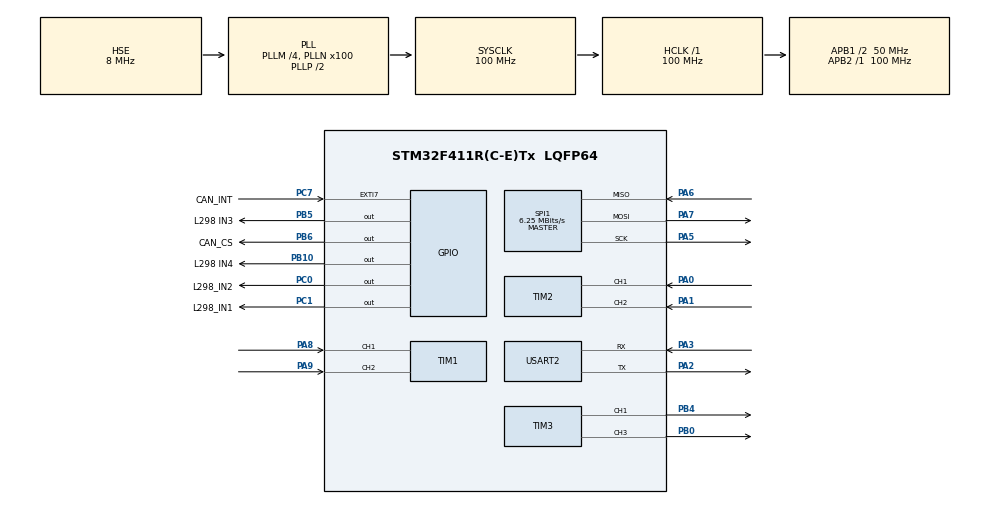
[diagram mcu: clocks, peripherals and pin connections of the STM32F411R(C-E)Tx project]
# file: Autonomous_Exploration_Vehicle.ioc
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FREERTOS.Tasks01=defaultTask,0,128,StartDefaultTask,Default,NULL,Dynamic,NULL,NULL
Mcu.Family=STM32F4
Mcu.Name=STM32F411R(C-E)Tx
Mcu.Package=LQFP64
NVIC.EXTI9_5_IRQn=true\:5\:0\:false\:false\:true\:true\:true\:true\:true
NVIC.PriorityGroup=NVIC_PRIORITYGROUP_4
NVIC.TIM1_TRG_COM_TIM11_IRQn=true\:5\:0\:false\:false\:true\:false\:false\:true\:true
NVIC.TimeBase=TIM1_TRG_COM_TIM11_IRQn
NVIC.TimeBaseIP=TIM11
PA0-WKUP.Signal=S_TIM2_CH1_ETR
PA1.Signal=S_TIM2_CH2
PA13.Mode=Serial_Wire
PA13.Signal=SYS_JTMS-SWDIO
PA14.Mode=Serial_Wire
PA14.Signal=SYS_JTCK-SWCLK
PA2.Mode=Asynchronous
PA2.Signal=USART2_TX
PA3.Mode=Asynchronous
PA3.Signal=USART2_RX
PA5.Mode=Full_Duplex_Master
PA5.Signal=SPI1_SCK
PA6.Mode=Full_Duplex_Master
PA6.Signal=SPI1_MISO
PA7.Mode=Full_Duplex_Master
PA7.Signal=SPI1_MOSI
PA8.Signal=S_TIM1_CH1
PA9.Signal=S_TIM1_CH2
PB0.Signal=S_TIM3_CH3
PB10.GPIO_Label=L298 IN4
PB10.Signal=GPIO_Output
PB4.Signal=S_TIM3_CH1
PB5.GPIO_Label=L298 IN3
PB5.Signal=GPIO_Output
PB6.GPIO_Label=CAN_CS
PB6.PinState=GPIO_PIN_SET
PB6.Signal=GPIO_Output
PC0.GPIO_Label=L298_IN2
PC0.Signal=GPIO_Output
PC1.GPIO_Label=L298_IN1
PC1.Signal=GPIO_Output
PC7.GPIO_Label=CAN_INT
PC7.GPIO_ModeDefaultEXTI=GPIO_MODE_IT_FALLING
PC7.GPIO_PuPd=GPIO_PULLUP
PC7.Signal=GPXTI7
PH0\ -\ OSC_IN.Mode=HSE-External-Clock-Source
PH0\ -\ OSC_IN.Signal=RCC_OSC_IN
PH1\ -\ OSC_OUT.Mode=HSE-External-Clock-Source
PH1\ -\ OSC_OUT.Signal=RCC_OSC_OUT
ProjectManager.HeapSize=0x200
ProjectManager.StackSize=0x400
ProjectManager.TargetToolchain=CMake
RCC.48MHZClocksFreq_Value=50000000
RCC.AHBFreq_Value=100000000
RCC.APB1CLKDivider=RCC_HCLK_DIV2
RCC.APB1Freq_Value=50000000
RCC.APB1TimFreq_Value=100000000
RCC.APB2Freq_Value=100000000
RCC.APB2TimFreq_Value=100000000
RCC.CortexFreq_Value=100000000
RCC.HCLKFreq_Value=100000000
RCC.HSE_VALUE=8000000
RCC.HSI_VALUE=16000000
RCC.LSE_VALUE=32768
RCC.PLLM=4
RCC.PLLN=100
RCC.PLLSourceVirtual=RCC_PLLSOURCE_HSE
RCC.SYSCLKFreq_VALUE=100000000
RCC.SYSCLKSource=RCC_SYSCLKSOURCE_PLLCLK
RCC.VCOOutputFreq_Value=200000000
SH.S_TIM1_CH1.0=TIM1_CH1,Encoder_Interface
SH.S_TIM1_CH2.0=TIM1_CH2,Encoder_Interface
SH.S_TIM2_CH1_ETR.0=TIM2_CH1,Encoder_Interface
SH.S_TIM2_CH2.0=TIM2_CH2,Encoder_Interface
SH.S_TIM3_CH1.0=TIM3_CH1,PWM Generation1 CH1
SH.S_TIM3_CH3.0=TIM3_CH3,PWM Generation3 CH3
SPI1.BaudRatePrescaler=SPI_BAUDRATEPRESCALER_16
SPI1.CalculateBaudRate=6.25 MBits/s
SPI1.Direction=SPI_DIRECTION_2LINES
SPI1.Mode=SPI_MODE_MASTER
SPI1.VirtualType=VM_MASTER
TIM1.EncoderMode=TIM_ENCODERMODE_TI12
TIM2.EncoderMode=TIM_ENCODERMODE_TI12
TIM3.Channel-PWM\ Generation1\ CH1=TIM_CHANNEL_1
TIM3.Channel-PWM\ Generation3\ CH3=TIM_CHANNEL_3
USART2.VirtualMode=VM_ASYNC
VP_FREERTOS_VS_CMSIS_V1.Mode=CMSIS_V1
VP_SYS_VS_tim11.Mode=TIM11
board=custom

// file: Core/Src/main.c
/* USER CODE BEGIN Header */
/**
  ******************************************************************************
  * @file           : main.c
  * @brief          : Main program body
  ******************************************************************************
  * @attention
  *
  * Copyright (c) 2026 STMicroelectronics.
  * All rights reserved.
  *
  * This software is licensed under terms that can be found in the LICENSE file
  * in the root directory of this software component.
  * If no LICENSE file comes with this software, it is provided AS-IS.
  *
  ******************************************************************************
  */
/* USER CODE END Header */
#include "main.h"
#include "cmsis_os.h"
#include "spi.h"
#include "tim.h"
#include "usart.h"
#include "gpio.h"

void SystemClock_Config(void);
void MX_FREERTOS_Init(void);

int main(void)
{

  /* MCU Configuration--------------------------------------------------------*/

  /* Reset of all peripherals, Initializes the Flash interface and the Systick. */
  HAL_Init();

  /* Configure the system clock */
  SystemClock_Config();

  /* Initialize all configured peripherals */
  MX_GPIO_Init();
  MX_SPI1_Init();
  MX_TIM1_Init();
  MX_TIM2_Init();
  MX_TIM3_Init();
  MX_USART2_UART_Init();

  /* Call init function for freertos objects (in cmsis_os2.c) */
  MX_FREERTOS_Init();

  /* Start scheduler */
  osKernelStart();

  /* We should never get here as control is now taken by the scheduler */

  /* Infinite loop */
  while (1)
  {

  }
}

void SystemClock_Config(void)
{
  RCC_OscInitTypeDef RCC_OscInitStruct = {0};
  RCC_ClkInitTypeDef RCC_ClkInitStruct = {0};

  /** Configure the main internal regulator output voltage
  */
  __HAL_RCC_PWR_CLK_ENABLE();
  __HAL_PWR_VOLTAGESCALING_CONFIG(PWR_REGULATOR_VOLTAGE_SCALE1);

  /** Initializes the RCC Oscillators according to the specified parameters
  * in the RCC_OscInitTypeDef structure.
  */
  RCC_OscInitStruct.OscillatorType = RCC_OSCILLATORTYPE_HSE;
  RCC_OscInitStruct.HSEState = RCC_HSE_BYPASS;
  RCC_OscInitStruct.PLL.PLLState = RCC_PLL_ON;
  RCC_OscInitStruct.PLL.PLLSource = RCC_PLLSOURCE_HSE;
  RCC_OscInitStruct.PLL.PLLM = 4;
  RCC_OscInitStruct.PLL.PLLN = 100;
  RCC_OscInitStruct.PLL.PLLP = RCC_PLLP_DIV2;
  RCC_OscInitStruct.PLL.PLLQ = 4;
  if (HAL_RCC_OscConfig(&RCC_OscInitStruct) != HAL_OK)
  {
    Error_Handler();
  }

  /** Initializes the CPU, AHB and APB buses clocks
  */
  RCC_ClkInitStruct.ClockType = RCC_CLOCKTYPE_HCLK|RCC_CLOCKTYPE_SYSCLK
                              |RCC_CLOCKTYPE_PCLK1|RCC_CLOCKTYPE_PCLK2;
  RCC_ClkInitStruct.SYSCLKSource = RCC_SYSCLKSOURCE_PLLCLK;
  RCC_ClkInitStruct.AHBCLKDivider = RCC_SYSCLK_DIV1;
  RCC_ClkInitStruct.APB1CLKDivider = RCC_HCLK_DIV2;
  RCC_ClkInitStruct.APB2CLKDivider = RCC_HCLK_DIV1;

  if (HAL_RCC_ClockConfig(&RCC_ClkInitStruct, FLASH_LATENCY_3) != HAL_OK)
  {
    Error_Handler();
  }
}

void HAL_TIM_PeriodElapsedCallback(TIM_HandleTypeDef *htim)
{
  if (htim->Instance == TIM11)
  {
    HAL_IncTick();
  }
}

void Error_Handler(void)
{
  __disable_irq();
  while (1)
  {
  }
}

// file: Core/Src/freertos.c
/* USER CODE BEGIN Header */
/**
  ******************************************************************************
  * File Name          : freertos.c
  * Description        : Code for freertos applications
  ******************************************************************************
  * @attention
  *
  * Copyright (c) 2026 STMicroelectronics.
  * All rights reserved.
  *
  * This software is licensed under terms that can be found in the LICENSE file
  * in the root directory of this software component.
  * If no LICENSE file comes with this software, it is provided AS-IS.
  *
  ******************************************************************************
  */
/* USER CODE END Header */

#include "FreeRTOS.h"
#include "task.h"
#include "main.h"
#include "cmsis_os.h"

/* USER CODE BEGIN Includes */
#include "can_probe.h"
#include "moter.h"

/* USER CODE END Includes */

/* USER CODE BEGIN PD */
#define CAN_PROBE_INTERVAL_MS 10

/* USER CODE END PD */

/* USER CODE BEGIN Variables */
/* Debug variables can be read through ST-LINK while the robot is running. */
volatile int32_t g_moter_debug_left_encoder = 0;
volatile int32_t g_moter_debug_right_encoder = 0;
volatile int32_t g_moter_debug_pid_error = 0;
volatile int32_t g_moter_debug_left_delta = 0;
volatile int32_t g_moter_debug_right_delta = 0;
volatile int16_t g_moter_debug_left_pwm_x10 = 0;
volatile int16_t g_moter_debug_right_pwm_x10 = 0;

/* USER CODE END Variables */
osThreadId defaultTaskHandle;

void StartDefaultTask(void const * argument);

void MX_FREERTOS_Init(void); /* (MISRA C 2004 rule 8.1) */

/* GetIdleTaskMemory prototype (linked to static allocation support) */
void vApplicationGetIdleTaskMemory( StaticTask_t **ppxIdleTaskTCBBuffer, StackType_t **ppxIdleTaskStackBuffer, uint32_t *pulIdleTaskStackSize );

/* USER CODE BEGIN GET_IDLE_TASK_MEMORY */
static StaticTask_t xIdleTaskTCBBuffer;
static StackType_t xIdleStack[configMINIMAL_STACK_SIZE];

void vApplicationGetIdleTaskMemory( StaticTask_t **ppxIdleTaskTCBBuffer, StackType_t **ppxIdleTaskStackBuffer, uint32_t *pulIdleTaskStackSize )
{
  *ppxIdleTaskTCBBuffer = &xIdleTaskTCBBuffer;
  *ppxIdleTaskStackBuffer = &xIdleStack[0];
  *pulIdleTaskStackSize = configMINIMAL_STACK_SIZE;
  /* place for user code */
}
/* USER CODE END GET_IDLE_TASK_MEMORY */

void MX_FREERTOS_Init(void) {

  /* Create the thread(s) */
  /* definition and creation of defaultTask */
  osThreadDef(defaultTask, StartDefaultTask, osPriorityNormal, 0, 512);
  defaultTaskHandle = osThreadCreate(osThread(defaultTask), NULL);

}

void StartDefaultTask(void const * argument)
{
  /* USER CODE BEGIN StartDefaultTask */
  Moter_Init();
  Moter_Stop();

  /* Infinite loop */
  for(;;)
  {
    CanProbe_Run();
    Moter_CommandUpdate();
    osDelay(CAN_PROBE_INTERVAL_MS);
  }
  /* USER CODE END StartDefaultTask */
}
